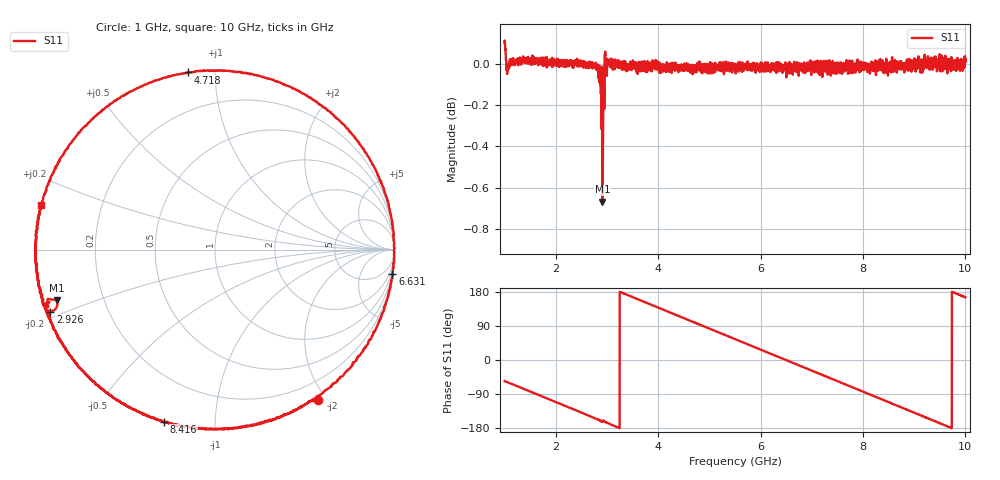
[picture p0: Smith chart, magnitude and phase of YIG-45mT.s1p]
#  HZ  S  RI  R  50.0
! Rohde & Schwarz ZVL13 2Ports - Version 3.31 - 1303.6509k13 SN: 101088
! Date: 2023-03-02 16:56:27
! Data & Calibration Information:
! Trc2:S21(Trans Norm)
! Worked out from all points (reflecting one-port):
!   4000 points, 1 GHz to 10 GHz, reference 50 ohm
!   lowest |S11| = -0.7 dB at 2.908 GHz (marker M1), VSWR 25.99, Z = 1.97 - j7.78 ohm
!   phase of S11 starts at -56 deg and turns -499 deg over the sweep
!   S11 on the Smith chart (normalised r, x): 1 GHz: -0.03, -1.90; 2.926 GHz: 0.01, -0.18; 4.718 GHz: 0.00, +0.86; 6.631 GHz: 0, -15; 8.416 GHz: -0.00, -0.75; 10 GHz: -0.00, +0.13
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1e9  0.5718 -0.8352
1.578395e9  0.0424 -1.002
1.846212e9  -0.2137 -0.9777
2.125281e9  -0.4677 -0.8832
2.588897e9  -0.8057 -0.5902
2.908477e9  -0.8819 -0.2819
2.926482e9  -0.9167 -0.346
3.250563e9  -0.9994 0.00284
3.516129e9  -0.9649 0.261
3.806452e9  -0.8541 0.5168
4.375844e9  -0.4584 0.8864
4.717929e9  -0.1498 0.9872
5.100525e9  0.2202 0.9747
5.501125e9  0.5722 0.8179
6.066017e9  0.912 0.4019
6.35859e9  0.9895 0.1326
6.626407e9  0.9899 -0.1274
6.630908e9  0.9889 -0.1338
6.916729e9  0.9174 -0.3982
7.189047e9  0.7828 -0.6217
7.751688e9  0.3456 -0.933
8.08027e9  0.0348 -0.9974
8.415604e9  -0.2851 -0.9589
8.876969e9  -0.6716 -0.7389
9.187547e9  -0.8636 -0.5103
9.43961e9  -0.9578 -0.2838
9.702926e9  -0.9986 -0.0325
1e10  -0.9685 0.2538
